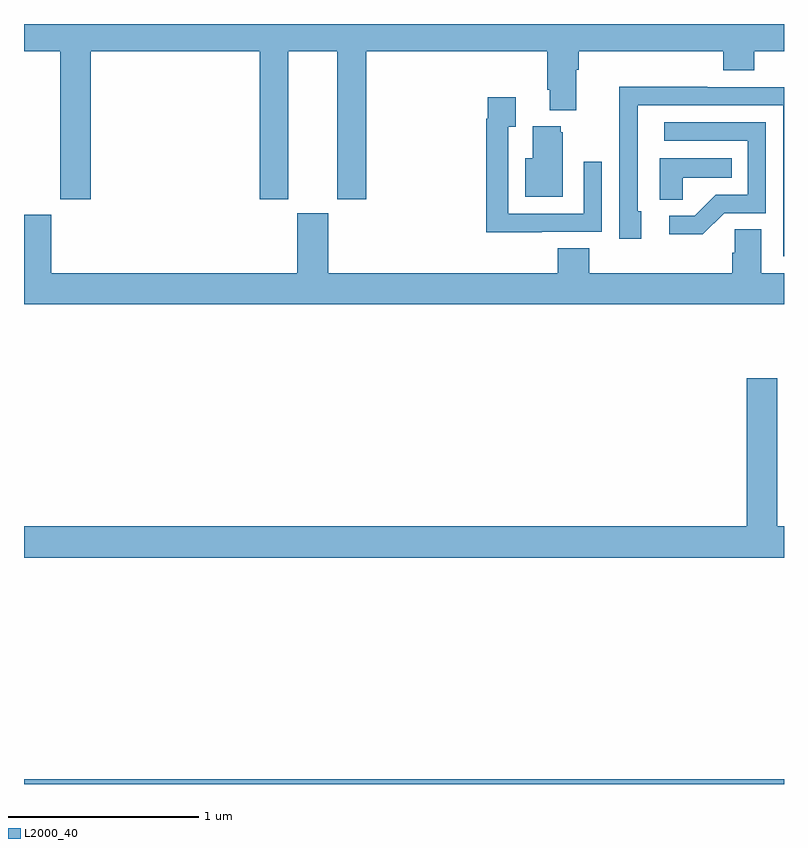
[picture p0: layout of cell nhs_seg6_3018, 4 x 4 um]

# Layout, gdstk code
import gdstk
lib = gdstk.Library(unit=1e-6, precision=1e-09)
def R(c, l, rs):  # rectangles x0, y0, x1, y1
    for r in rs: c.add(gdstk.rectangle(r[:2], r[2:], *l))
def P(c, l, *ps):  # polygons
    for p in ps: c.add(gdstk.Polygon(p, *l))
L2000_40 = (2000, 40)

nhs_seg6_3018 = lib.new_cell('nhs_seg6_3018')
R(nhs_seg6_3018, L2000_40, [(289,923.5,293,923.524)])
P(nhs_seg6_3018, L2000_40, [(289.352,927.356),(290.24,927.356),(290.24,926.577),(290.392,926.577),(290.392,927.356),(290.648,927.356),(290.648,926.577),(290.801,926.577),(290.801,927.356),(291.755,927.356),(291.755,927.154),(291.767,927.154),(291.767,927.047),(291.907,927.047),(291.907,927.26),(291.92,927.26),(291.92,927.356),(292.679,927.356),(292.679,927.257),(292.844,927.257),(292.844,927.356),(293,927.356),(293,927.5),(289,927.5),(289,927.356),(289.192,927.356),(289.192,926.577),(289.352,926.577)],
  [(293,927.168),(292.595,927.168),(292.595,927.17),(292.132,927.17),(292.132,926.863),(292.134,926.863),(292.134,926.37),(292.249,926.37),(292.249,926.514),(292.23,926.514),(292.23,927.072),(292.995,927.072),(292.995,926.277),(293,926.277)],
  [(291.725,926.406),(292.041,926.406),(292.041,926.776),(291.945,926.776),(291.945,926.502),(291.549,926.502),(291.549,926.959),(291.589,926.959),(291.589,927.115),(291.441,927.115),(291.441,927.002),(291.433,927.002),(291.433,926.405),(291.725,926.405)],
  [(292.686,926.505),(292.905,926.505),(292.905,926.982),(292.371,926.982),(292.371,926.886),(292.809,926.886),(292.809,926.601),(292.64,926.601),(292.529,926.49),(292.395,926.49),(292.395,926.393),(292.573,926.393)],
  [(291.835,926.931),(291.824,926.931),(291.824,926.962),(291.677,926.962),(291.677,926.794),(291.638,926.794),(291.638,926.591),(291.835,926.591)],
  [(292.467,926.69),(292.724,926.69),(292.724,926.794),(292.346,926.794),(292.346,926.575),(292.467,926.575)],
  [(293,926.188),(292.879,926.188),(292.879,926.42),(292.74,926.42),(292.74,926.297),(292.727,926.297),(292.727,926.188),(291.974,926.188),(291.974,926.321),(291.809,926.321),(291.809,926.188),(290.602,926.188),(290.602,926.505),(290.438,926.505),(290.438,926.188),(289.144,926.188),(289.144,926.497),(289,926.497),(289,926.024),(293,926.024)],
  [(293,924.856),(292.965,924.856),(292.965,925.636),(292.805,925.636),(292.805,924.856),(289,924.856),(289,924.692),(293,924.692)])

lib.write_gds('nhs_seg6_3018.gds')
